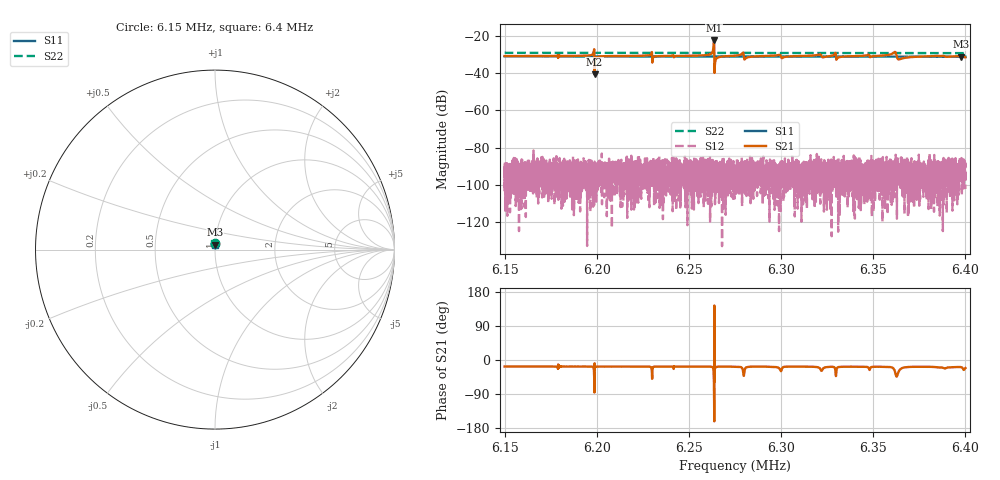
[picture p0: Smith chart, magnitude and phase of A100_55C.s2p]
!CETC41,AV3656A,ZGL00048,1.3.2
!Calibration ON (Full Solt 2-Port(Omit Isolation))
!Measurements: S11 S21 S12 S22
!2025-04-18 01:46
# Hz  S  dB  R 50.000
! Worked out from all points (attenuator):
!   6401 points, 6.15 MHz to 6.4 MHz, reference 50 ohm
!   highest |S21| = -22.27 dB at 6.2636 MHz (marker M1); lowest = -40.6 dB at 6.1988 MHz (marker M2)
!   lowest |S11| = -31.1 dB at 6.3976 MHz (marker M3), VSWR 1.06, Z = 49.9 + j2.79 ohm
!   |S11| at or under -10 dB: start of sweep to end of sweep
!   |S22| runs from -29.1 to -28.9 dB; largest |S21 - S12| = 0.077
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6150000  -30.81 85.2  -30.67 -17.2  -90.16 55.0  -28.92 90.9
6191680  -30.86 86.1  -30.54 -17.3  -95.53 39.1  -28.95 91.6
6197461  -30.87 86.3  -29.99 -17.6  -95.70 -1.9  -28.95 91.8
6198789  -30.85 86.3  -40.61 -71.1  -99.35 -174.9  -28.94 91.8
6200000  -30.86 86.4  -31.22 -17.5  -97.48 147.6  -28.95 91.8
6233359  -30.89 87.2  -30.75 -17.4  -88.43 114.0  -28.97 92.4
6258906  -30.93 87.7  -30.22 -17.5  -92.10 159.6  -28.99 92.8
6262500  -30.92 87.8  -29.02 -18.2  -91.76 112.7  -29.00 92.9
6263594  -30.92 87.8  -22.27 -68.9  -88.40 33.7  -29.00 93.0
6265039  -30.94 87.9  -31.91 -17.9  -100.04 -169.7  -29.01 93.0
6266875  -30.93 87.9  -31.12 -17.5  -107.00 -20.3  -29.00 93.1
6275000  -30.94 88.1  -30.49 -17.6  -91.56 -55.3  -29.00 93.1
6278477  -30.94 88.2  -29.70 -19.4  -97.20 -93.8  -29.00 93.3
6281094  -30.95 88.2  -31.70 -19.7  -97.63 -21.1  -29.00 93.3
6316680  -30.97 89.0  -30.45 -17.8  -89.99 116.7  -29.04 93.9
6328516  -30.98 89.3  -30.16 -18.4  -97.21 43.4  -29.05 94.1
6331055  -30.98 89.4  -31.46 -18.8  -87.77 22.0  -29.05 94.1
6358359  -31.02 90.0  -30.04 -18.3  -105.15 0.4  -29.06 94.6
6361367  -31.02 90.0  -28.67 -25.1  -94.39 149.9  -29.07 94.7
6364414  -31.02 90.1  -32.35 -25.8  -92.21 158.1  -29.06 94.7
6397617  -31.06 90.8  -30.54 -18.8  -91.33 79.7  -29.09 95.3
6400000  -31.05 90.9  -31.37 -21.4  -102.35 96.2  -29.10 95.3
